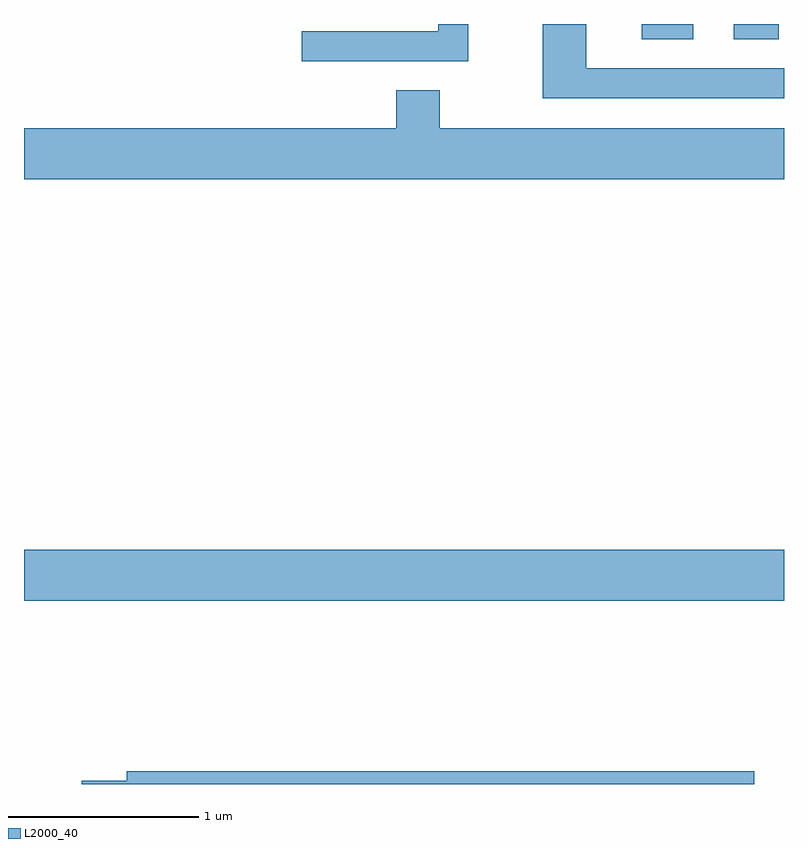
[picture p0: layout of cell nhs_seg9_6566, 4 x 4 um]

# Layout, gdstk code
import gdstk
lib = gdstk.Library(unit=1e-6, precision=1e-09)
def R(c, l, rs):  # rectangles x0, y0, x1, y1
    for r in rs: c.add(gdstk.rectangle(r[:2], r[2:], *l))
def P(c, l, *ps):  # polygons
    for p in ps: c.add(gdstk.Polygon(p, *l))
L2000_40 = (2000, 40)

nhs_seg9_6566 = lib.new_cell('nhs_seg9_6566')
R(nhs_seg9_6566, L2000_40, [(379.611,1967.396,383.611,1967.664), (382.861,1970.351,383.133,1970.432), (383.346,1970.351,383.583,1970.432)])
P(nhs_seg9_6566, L2000_40, [(383.611,1970.199),(382.569,1970.199),(382.569,1970.432),(382.341,1970.432),(382.341,1970.041),(383.611,1970.041)],
  [(381.949,1970.432),(381.791,1970.432),(381.791,1970.394),(381.073,1970.394),(381.073,1970.236),(381.949,1970.236)],
  [(383.611,1969.884),(381.799,1969.884),(381.799,1970.084),(381.571,1970.084),(381.571,1969.884),(379.611,1969.884),(379.611,1969.616),(383.611,1969.616)],
  [(383.454,1966.499),(380.151,1966.499),(380.151,1966.449),(379.916,1966.449),(379.916,1966.432),(383.454,1966.432)])

lib.write_gds('nhs_seg9_6566.gds')
